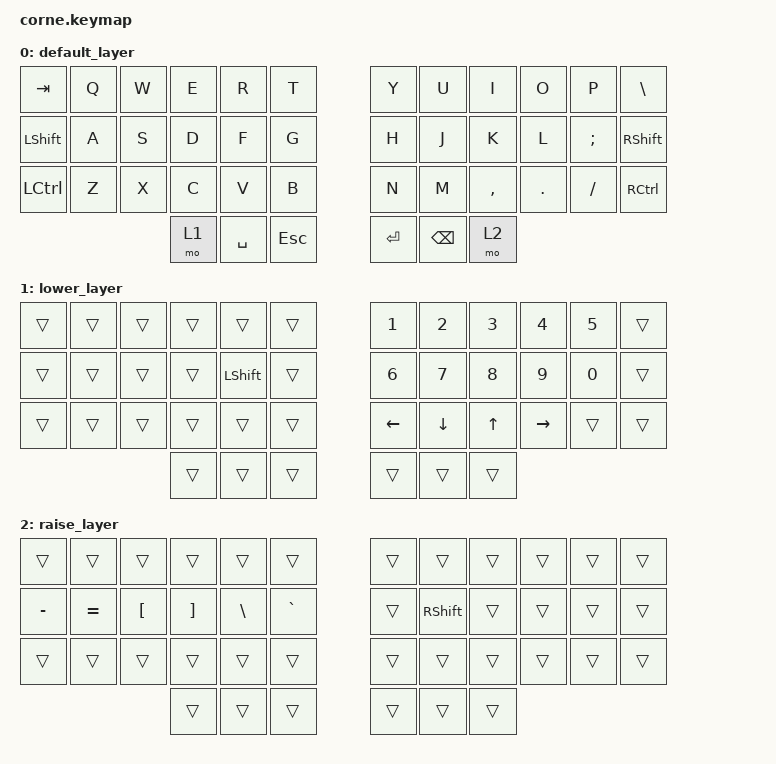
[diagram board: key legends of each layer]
/*
 * Copyright (c) 2020 The ZMK Contributors
 *
 * SPDX-License-Identifier: MIT
 */

#include <behaviors.dtsi>
#include <dt-bindings/zmk/keys.h>

/ {
    keymap {
        compatible = "zmk,keymap";

        default_layer {
            // -----------------------------------------------------------------------------------------
            // |  TAB |  Q  |  W  |  E  |  R  |  T  |   |  Y  |  U   |  I  |  O  |  P  | BSPC |
            // | CTRL |  A  |  S  |  D  |  F  |  G  |   |  H  |  J   |  K  |  L  |  ;  |  '   |
            // | SHFT |  Z  |  X  |  C  |  V  |  B  |   |  N  |  M   |  ,  |  .  |  /  | ESC  |
            //                    | GUI | LWR | SPC |   | ENT | RSE  | ALT |

            bindings = <
&kp TAB    &kp Q  &kp W  &kp E  &kp R      &kp T         &kp Y      &kp U          &kp I      &kp O    &kp P     &kp BACKSLASH
&kp LSHFT  &kp A  &kp S  &kp D  &kp F      &kp G         &kp H      &kp J          &kp K      &kp L    &kp SEMI  &kp RSHFT
&kp LCTRL  &kp Z  &kp X  &kp C  &kp V      &kp B         &kp N      &kp M          &kp COMMA  &kp DOT  &kp FSLH  &kp RCTRL
                         &mo 1  &kp SPACE  &kp ESCAPE    &kp ENTER  &kp BACKSPACE  &mo 2
            >;
        };

        lower_layer {
            // -----------------------------------------------------------------------------------------
            // |  TAB |  1  |  2  |  3  |  4  |  5  |   |  6  |  7  |  8  |  9  |  0  | BSPC |
            // | BTCLR| BT1 | BT2 | BT3 | BT4 | BT5 |   | LFT | DWN |  UP | RGT |     |      |
            // | SHFT |     |     |     |     |     |   |     |     |     |     |     |      |
            //                    | GUI |     | SPC |   | ENT |     | ALT |

            bindings = <
&trans  &trans  &trans  &trans  &trans     &trans    &kp N1    &kp N2    &kp N3  &kp N4     &kp N5  &trans
&trans  &trans  &trans  &trans  &kp LSHFT  &trans    &kp N6    &kp N7    &kp N8  &kp N9     &kp N0  &trans
&trans  &trans  &trans  &trans  &trans     &trans    &kp LEFT  &kp DOWN  &kp UP  &kp RIGHT  &trans  &trans
                        &trans  &trans     &trans    &trans    &trans    &trans
            >;
        };

        raise_layer {
            // -----------------------------------------------------------------------------------------
            // |  TAB |  !  |  @  |  #  |  $  |  %  |   |  ^  |  &  |  *  |  (  |  )  | BSPC |
            // | CTRL |     |     |     |     |     |   |  -  |  =  |  [  |  ]  |  \  |  `   |
            // | SHFT |     |     |     |     |     |   |  _  |  +  |  {  |  }  | "|" |  ~   |
            //                    | GUI |     | SPC |   | ENT |     | ALT |

            bindings = <
&trans     &trans     &trans            &trans             &trans         &trans       &trans  &trans     &trans  &trans  &trans  &trans
&kp MINUS  &kp EQUAL  &kp LEFT_BRACKET  &kp RIGHT_BRACKET  &kp BACKSLASH  &kp GRAVE    &trans  &kp RSHFT  &trans  &trans  &trans  &trans
&trans     &trans     &trans            &trans             &trans         &trans       &trans  &trans     &trans  &trans  &trans  &trans
                                        &trans             &trans         &trans       &trans  &trans     &trans
            >;
        };
    };
};
